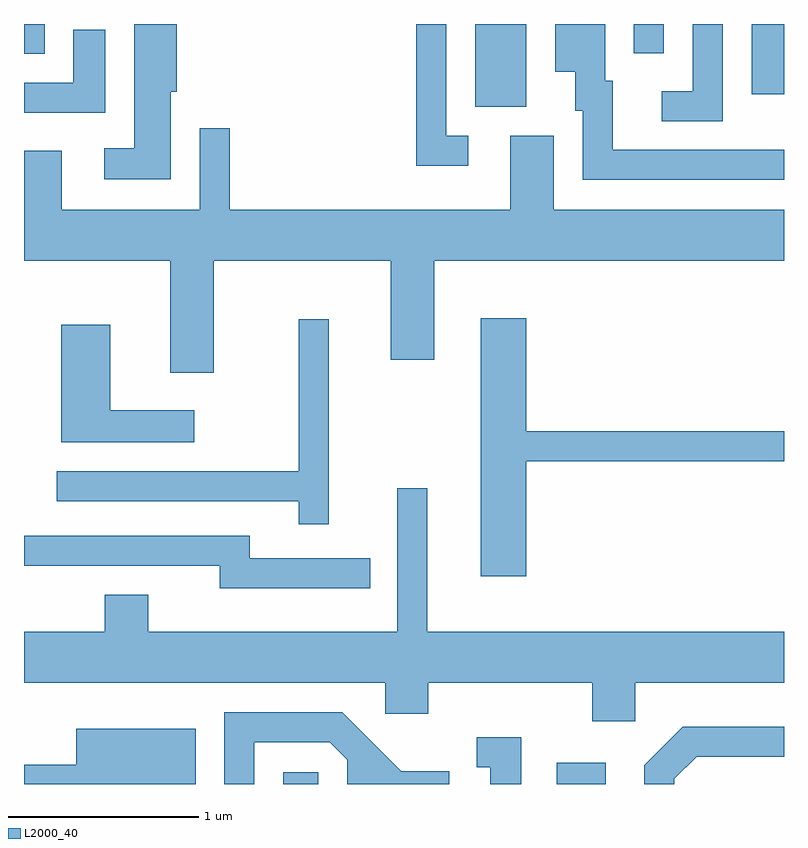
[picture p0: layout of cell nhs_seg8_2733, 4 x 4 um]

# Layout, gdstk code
import gdstk
lib = gdstk.Library(unit=1e-6, precision=1e-09)
def R(c, l, rs):  # rectangles x0, y0, x1, y1
    for r in rs: c.add(gdstk.rectangle(r[:2], r[2:], *l))
def P(c, l, *ps):  # polygons
    for p in ps: c.add(gdstk.Polygon(p, *l))
L2000_40 = (2000, 40)

nhs_seg8_2733 = lib.new_cell('nhs_seg8_2733')
R(nhs_seg8_2733, L2000_40, [(268.976,1820.342,269.159,1820.404), (270.416,1820.342,270.674,1820.454), (269.986,1823.906,270.254,1824.342), (271.441,1823.971,271.611,1824.342), (267.611,1824.186,267.719,1824.342), (270.821,1824.188,270.979,1824.342)])
P(nhs_seg8_2733, L2000_40, [(271.289,1824.342),(271.131,1824.342),(271.131,1823.989),(270.968,1823.989),(270.968,1823.831),(271.289,1823.831)],
  [(271.611,1823.679),(270.709,1823.679),(270.709,1824.044),(270.669,1824.044),(270.669,1824.342),(270.406,1824.342),(270.406,1824.091),(270.511,1824.091),(270.511,1823.886),(270.551,1823.886),(270.551,1823.521),(271.611,1823.521)],
  [(269.948,1823.754),(269.834,1823.754),(269.834,1824.342),(269.676,1824.342),(269.676,1823.596),(269.948,1823.596)],
  [(268.384,1823.986),(268.414,1823.986),(268.414,1824.342),(268.191,1824.342),(268.191,1823.689),(268.033,1823.689),(268.033,1823.526),(268.384,1823.526)],
  [(268.039,1824.313),(267.871,1824.313),(267.871,1824.034),(267.611,1824.034),(267.611,1823.876),(268.039,1823.876)],
  [(268.609,1823.096),(269.541,1823.096),(269.541,1822.576),(269.769,1822.576),(269.769,1823.096),(271.611,1823.096),(271.611,1823.364),(270.399,1823.364),(270.399,1823.754),(270.171,1823.754),(270.171,1823.364),(268.694,1823.364),(268.694,1823.793),(268.536,1823.793),(268.536,1823.364),(267.809,1823.364),(267.809,1823.674),(267.611,1823.674),(267.611,1823.096),(268.381,1823.096),(268.381,1822.506),(268.609,1822.506)],
  [(270.254,1822.041),(271.611,1822.041),(271.611,1822.199),(270.254,1822.199),(270.254,1822.794),(270.016,1822.794),(270.016,1821.436),(270.254,1821.436)],
  [(269.214,1822.788),(269.056,1822.788),(269.056,1821.989),(267.783,1821.989),(267.783,1821.831),(269.056,1821.831),(269.056,1821.708),(269.214,1821.708)],
  [(268.508,1822.309),(268.064,1822.309),(268.064,1822.759),(267.806,1822.759),(267.806,1822.141),(268.508,1822.141)],
  [(270.829,1820.876),(271.611,1820.876),(271.611,1821.144),(269.734,1821.144),(269.734,1821.898),(269.576,1821.898),(269.576,1821.144),(268.264,1821.144),(268.264,1821.339),(268.036,1821.339),(268.036,1821.144),(267.611,1821.144),(267.611,1820.876),(269.511,1820.876),(269.511,1820.711),(269.739,1820.711),(269.739,1820.876),(270.601,1820.876),(270.601,1820.671),(270.829,1820.671)],
  [(269.433,1821.529),(268.799,1821.529),(268.799,1821.649),(267.611,1821.649),(267.611,1821.491),(268.641,1821.491),(268.641,1821.371),(269.433,1821.371)],
  [(268.824,1820.561),(269.219,1820.561),(269.311,1820.469),(269.311,1820.342),(269.849,1820.342),(269.849,1820.409),(269.597,1820.409),(269.287,1820.719),(268.666,1820.719),(268.666,1820.342),(268.824,1820.342)],
  [(271.034,1820.369),(271.152,1820.486),(271.611,1820.486),(271.611,1820.644),(271.079,1820.644),(270.876,1820.442),(270.876,1820.342),(271.034,1820.342)],
  [(268.514,1820.634),(267.886,1820.634),(267.886,1820.444),(267.611,1820.444),(267.611,1820.342),(268.514,1820.342)],
  [(270.229,1820.589),(269.993,1820.589),(269.993,1820.431),(270.066,1820.431),(270.066,1820.342),(270.229,1820.342)])

lib.write_gds('nhs_seg8_2733.gds')
